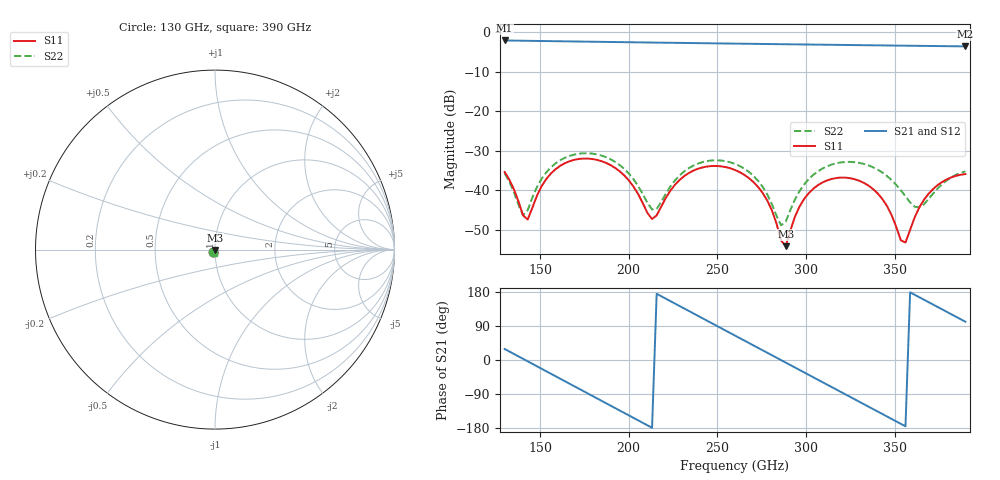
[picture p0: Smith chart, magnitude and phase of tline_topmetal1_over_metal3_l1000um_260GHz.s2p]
#  GHZ S DB R 50
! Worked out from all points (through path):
!   101 points, 130 GHz to 390 GHz, reference 50 ohm
!   highest |S21| = -2.15 dB at 130 GHz (marker M1); lowest = -3.6 dB at 390 GHz (marker M2)
!   group delay of S21, straight-line fit = 6.92 ps
!   lowest |S11| = -54.0 dB at 288.6 GHz (marker M3), VSWR 1.00, Z = 50 - j0.198 ohm
!   |S11| at or under -10 dB: start of sweep to end of sweep
!   |S22| runs from -48.8 to -30.6 dB; largest |S21 - S12| = 8.5e-14
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130  -35.33 -134.5  -2.15 29.1  -2.15 29.1  -35.66 -132.3
140.4  -46.26 -114.5  -2.22 3.1  -2.22 3.1  -46.24 -93.5
143  -47.33 -77.2  -2.24 -3.4  -2.24 -3.4  -45.00 -59.6
156  -35.77 -46.5  -2.32 -35.9  -2.32 -35.9  -34.22 -46.2
174.2  -31.95 -83.5  -2.44 -81.4  -2.44 -81.4  -30.62 -83.4
187.2  -33.04 -111.8  -2.52 -113.9  -2.52 -113.9  -31.60 -111.2
200.2  -37.52 -134.9  -2.60 -146.4  -2.60 -146.4  -35.77 -133.9
213.2  -47.19 -99.8  -2.68 -178.8  -2.68 -178.8  -44.79 -107.0
218.4  -44.04 -61.8  -2.71 168.2  -2.71 168.2  -42.86 -68.7
236.6  -34.97 -75.5  -2.81 122.8  -2.81 122.8  -33.70 -75.5
260  -34.83 -126.7  -2.95 64.4  -2.95 64.4  -33.29 -123.8
275.6  -40.62 -158.0  -3.04 25.6  -3.04 25.6  -39.08 -150.3
286  -52.58 -140.7  -3.09 -0.3  -3.09 -0.3  -48.78 -113.8
288.6  -54.05 -94.7  -3.11 -6.8  -3.11 -6.8  -47.89 -81.7
296.4  -44.05 -57.4  -3.15 -26.2  -3.15 -26.2  -40.17 -58.6
304.2  -39.54 -68.7  -3.19 -45.6  -3.19 -45.6  -36.05 -68.2
327.6  -37.16 -119.0  -3.32 -103.9  -3.32 -103.9  -32.86 -114.6
348.4  -46.24 -151.1  -3.43 -155.6  -3.43 -155.6  -37.39 -149.0
356.2  -53.12 -87.5  -3.47 -175.0  -3.47 -175.0  -41.48 -147.2
364  -44.28 -53.8  -3.51 165.6  -3.51 165.6  -44.29 -114.2
369.2  -40.84 -59.4  -3.54 152.7  -3.54 152.7  -42.17 -93.3
390  -35.85 -101.3  -3.65 101.0  -3.65 101.0  -35.17 -106.9
